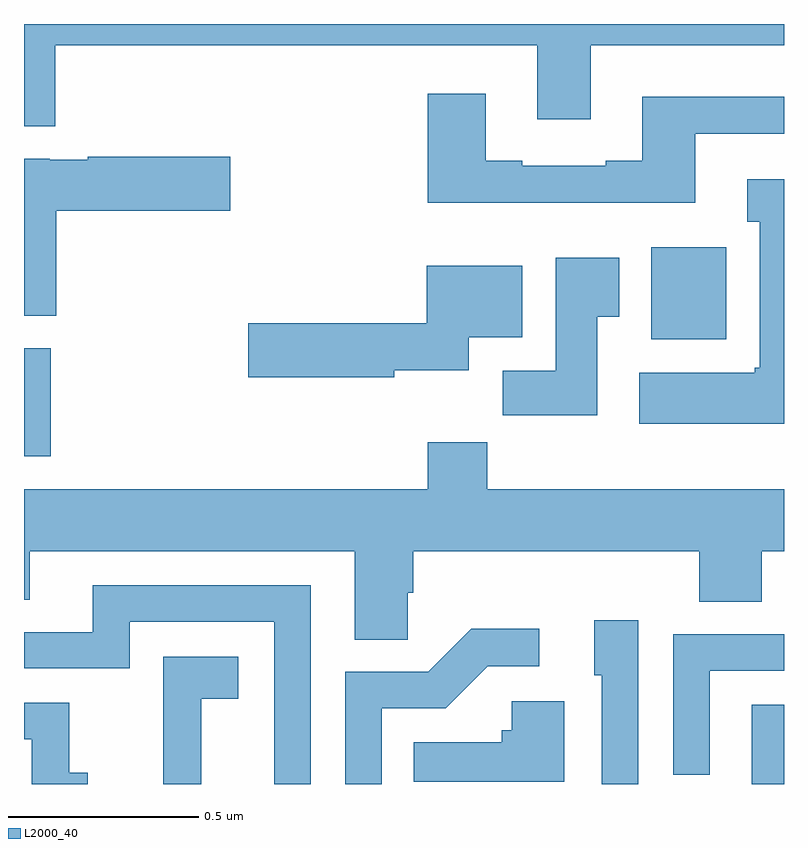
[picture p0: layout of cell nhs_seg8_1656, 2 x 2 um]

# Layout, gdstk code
import gdstk
lib = gdstk.Library(unit=1e-6, precision=1e-09)
def R(c, l, rs):  # rectangles x0, y0, x1, y1
    for r in rs: c.add(gdstk.rectangle(r[:2], r[2:], *l))
def P(c, l, *ps):  # polygons
    for p in ps: c.add(gdstk.Polygon(p, *l))
L2000_40 = (2000, 40)

nhs_seg8_1656 = lib.new_cell('nhs_seg8_1656')
R(nhs_seg8_1656, L2000_40, [(134.915,1103.9,135,1104.109), (133,1104.762,133.07,1105.047), (134.651,1105.07,134.848,1105.312)])
P(nhs_seg8_1656, L2000_40, [(133,1105.631),(133.082,1105.631),(133.082,1105.844),(134.351,1105.844),(134.351,1105.65),(134.491,1105.65),(134.491,1105.844),(135,1105.844),(135,1105.9),(133,1105.9)],
  [(134.767,1105.611),(135,1105.611),(135,1105.708),(134.627,1105.708),(134.627,1105.54),(134.531,1105.54),(134.531,1105.527),(134.311,1105.527),(134.311,1105.54),(134.215,1105.54),(134.215,1105.717),(134.063,1105.717),(134.063,1105.43),(134.767,1105.43)],
  [(133.085,1105.409),(133.543,1105.409),(133.543,1105.551),(133.168,1105.551),(133.168,1105.543),(133.068,1105.543),(133.068,1105.546),(133,1105.546),(133,1105.132),(133.085,1105.132)],
  [(135,1105.492),(134.903,1105.492),(134.903,1105.379),(134.936,1105.379),(134.936,1104.996),(134.923,1104.996),(134.923,1104.982),(134.619,1104.982),(134.619,1104.848),(135,1104.848)],
  [(134.509,1105.129),(134.566,1105.129),(134.566,1105.285),(134.399,1105.285),(134.399,1104.988),(134.26,1104.988),(134.26,1104.87),(134.509,1104.87)],
  [(133.974,1104.989),(134.17,1104.989),(134.17,1105.076),(134.311,1105.076),(134.311,1105.264),(134.06,1105.264),(134.06,1105.112),(133.59,1105.112),(133.59,1104.97),(133.974,1104.97)],
  [(134.01,1104.403),(134.024,1104.403),(134.024,1104.512),(134.777,1104.512),(134.777,1104.379),(134.942,1104.379),(134.942,1104.512),(135,1104.512),(135,1104.676),(134.219,1104.676),(134.219,1104.8),(134.063,1104.8),(134.063,1104.676),(133,1104.676),(133,1104.385),(133.015,1104.385),(133.015,1104.512),(133.871,1104.512),(133.871,1104.28),(134.01,1104.28)],
  [(133.755,1104.423),(133.181,1104.423),(133.181,1104.3),(133,1104.3),(133,1104.204),(133.278,1104.204),(133.278,1104.327),(133.659,1104.327),(133.659,1103.9),(133.755,1103.9)],
  [(134.616,1104.331),(134.501,1104.331),(134.501,1104.186),(134.52,1104.186),(134.52,1103.9),(134.616,1103.9)],
  [(133.941,1104.099),(134.11,1104.099),(134.221,1104.21),(134.356,1104.21),(134.356,1104.308),(134.177,1104.308),(134.064,1104.195),(133.845,1104.195),(133.845,1103.9),(133.941,1103.9)],
  [(134.805,1104.198),(135,1104.198),(135,1104.294),(134.709,1104.294),(134.709,1103.925),(134.805,1103.925)],
  [(133.466,1104.125),(133.564,1104.125),(133.564,1104.235),(133.366,1104.235),(133.366,1104.029),(133.367,1104.029),(133.367,1103.9),(133.466,1103.9)],
  [(134.422,1104.118),(134.283,1104.118),(134.283,1104.042),(134.257,1104.042),(134.257,1104.01),(134.026,1104.01),(134.026,1103.906),(134.422,1103.906)],
  [(133.168,1103.929),(133.119,1103.929),(133.119,1104.114),(133,1104.114),(133,1104.018),(133.02,1104.018),(133.02,1103.9),(133.168,1103.9)])

lib.write_gds('nhs_seg8_1656.gds')
